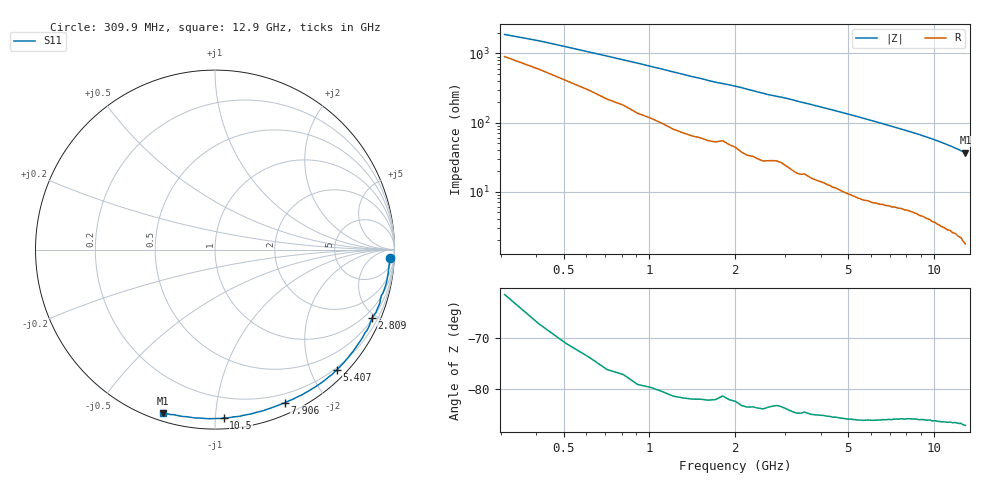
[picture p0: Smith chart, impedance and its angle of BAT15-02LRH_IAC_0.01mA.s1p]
! Infineon Technologies  Discrete & RF Semiconductors
! BAT15-02LRH
! IAC = 0.01 mA
! One-Port S-Parameters
# Hz  S  MA  R  50
!f  S11
!Hz  Mag  Ang
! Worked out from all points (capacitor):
!   127 points, 309.9 MHz to 12.9 GHz, reference 50 ohm
!   read as one part to ground: C = 277 fF near 309.9 MHz
!   lowest |Z| = 36.6 ohm at 12.9 GHz (marker M1)
!   S11 on the Smith chart (normalised r, x): 309.9 MHz: 18, -33; 2.809 GHz: 0.56, -4.74; 5.407 GHz: 0.16, -2.42; 7.906 GHz: 0.11, -1.55; 10.5 GHz: 0.07, -1.05; 12.9 GHz: 0.04, -0.73
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3.0985e8  0.9748 -2.7
1.2094e9  0.973 -10.4
1.70915e9  0.9654 -14.8
1.90905e9  0.9626 -16.1
2.10895e9  0.9651 -17.7
2.50875e9  0.9625 -21.2
2.8086e9  0.9542 -23.5
3.2084e9  0.9588 -26.5
3.50825e9  0.9552 -29.1
3.70815e9  0.9569 -30.6
4.4078e9  0.9557 -36.3
5.10745e9  0.9539 -42.2
5.4073e9  0.9543 -44.7
5.90705e9  0.9508 -49.0
6.6067e9  0.9457 -54.9
7.10645e9  0.9434 -59.0
7.90605e9  0.9384 -65.4
8.2059e9  0.9359 -68.0
8.90555e9  0.9369 -73.5
9.70515e9  0.9364 -80.4
9.8051e9  0.9381 -81.0
1.050475e10  0.9399 -87.1
1.10045e10  0.9422 -91.2
1.14043e10  0.9421 -94.9
1.210395e10  0.9465 -100.7
1.24038e10  0.9475 -103.5
1.26037e10  0.9516 -105.0
1.290355e10  0.9552 -107.7
